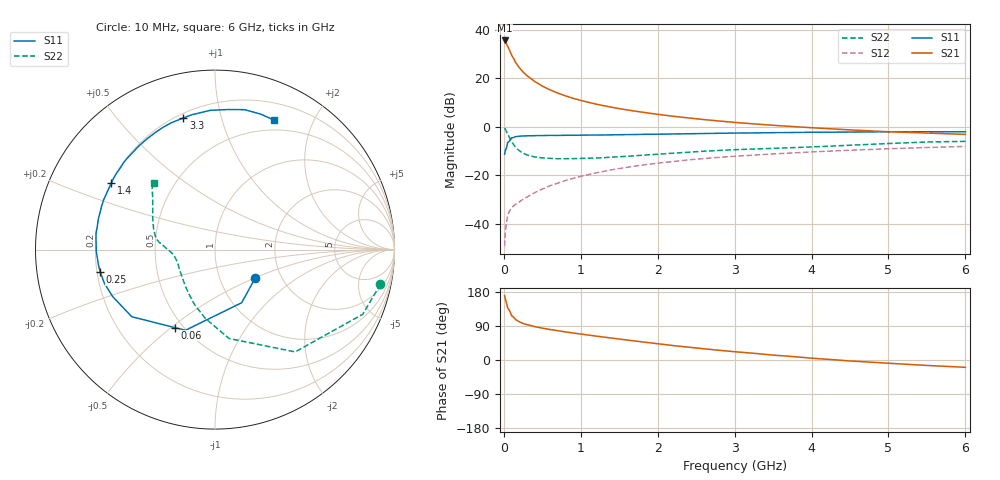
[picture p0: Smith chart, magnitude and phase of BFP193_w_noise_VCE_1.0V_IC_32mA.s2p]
! (c) 2017  Infineon Technologies AG, Munich
! Infineon Technologies  Discrete & RF Semiconductors
! BFP193
! VCE =  1.0 V,  IC =  32 mA
! Common Emitter S-Parameters:  Jan 2017
# GHz  S  MA  R  50
!  f  S11  S21  S12  S22
! GHz  MAG  ANG  MAG  ANG  MAG  ANG  MAG  ANG
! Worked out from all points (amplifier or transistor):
!   77 points, 10 MHz to 6 GHz, reference 50 ohm
!   highest |S21| = 35.6 dB at 10 MHz (marker M1)
!   |S21| within 3 dB of that: start of sweep to 59.38 MHz
!   unconditionally stable (mu >= 1): 607.3 MHz to 2.728 GHz
!   at 130 MHz: K = 0.54, MSG = 30.2 dB, |S12| = -32.4 dB
!   at 2.2 GHz: K = 1.02, MAG = 8.4 dB, |S12| = -14.3 dB
!   at 6 GHz: K = 0.97, MSG = 2.5 dB, |S12| = -8.0 dB
!   lowest NFmin = 1.24 dB at 450 MHz
!   S11 on the Smith chart (normalised r, x): 10 MHz: 1.47, -0.51; 60 MHz: 0.45, -0.51; 250 MHz: 0.21, -0.09; 1.4 GHz: 0.20, +0.28; 3.3 GHz: 0.22, +0.76; 6 GHz: 0.38, +1.48
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0.01  0.2748 -35.7  60.38 169.8  0.0035 82.5  0.9416 -11.8
0.02  0.3311 -63.3  58.44 160.2  0.0068 82.3  0.8989 -23.6
0.05  0.4787 -110.1  45.99 137.4  0.0152 59.1  0.7244 -51.9
0.06  0.4889 -117.3  42.54 134.6  0.0165 57.1  0.6689 -56.1
0.1  0.5957 -141.1  30.33 117.2  0.0217 51.3  0.5014 -81.0
0.13  0.6101 -149.8  25.03 112.0  0.0239 50.9  0.4267 -90.3
0.15  0.6272 -155.3  21.65 107.2  0.0253 50.6  0.3851 -98.4
0.2  0.6442 -163.0  16.72 100.9  0.0285 53.4  0.3246 -110.9
0.25  0.6515 -168.8  13.54 96.4  0.0325 54.5  0.2879 -120.1
0.3  0.6553 -172.9  11.38 93.3  0.0358 57.1  0.2648 -128.0
0.4  0.6612 -179.0  8.63 88.0  0.0442 59.8  0.2411 -138.8
0.5  0.6641 176.2  6.926 84.0  0.0526 61.5  0.23 -147.0
0.7  0.6684 168.8  4.982 77.4  0.0693 63.2  0.2212 -157.5
0.9  0.6727 162.0  3.885 71.3  0.0872 63.2  0.2225 -163.9
1.1  0.6798 156.0  3.209 65.9  0.1045 61.9  0.2268 -168.8
1.4  0.6862 147.4  2.55 57.9  0.1305 58.9  0.2383 -174.6
2.1  0.7117 128.7  1.737 40.6  0.1866 50.1  0.2807 176.9
3.1  0.7489 107.2  1.206 20.2  0.254 36.9  0.344 166.2
3.3  0.754 103.5  1.141 16.8  0.2657 34.5  0.3527 163.5
4.1  0.777 90.4  0.943 3.4  0.3104 24.9  0.3936 151.8
5.1  0.796 76.7  0.785 -9.7  0.3593 13.3  0.4617 138.9
6  0.7928 65.6  0.701 -19.4  0.3967 3.4  0.5045 132.3
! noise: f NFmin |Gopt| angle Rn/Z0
0.45  1.24  0.35  -173  0.08
0.9  1.3  0.39  -171  0.07
1.9  1.92  0.58  -136  0.17
2.4  2.25  0.62  -121  0.38
